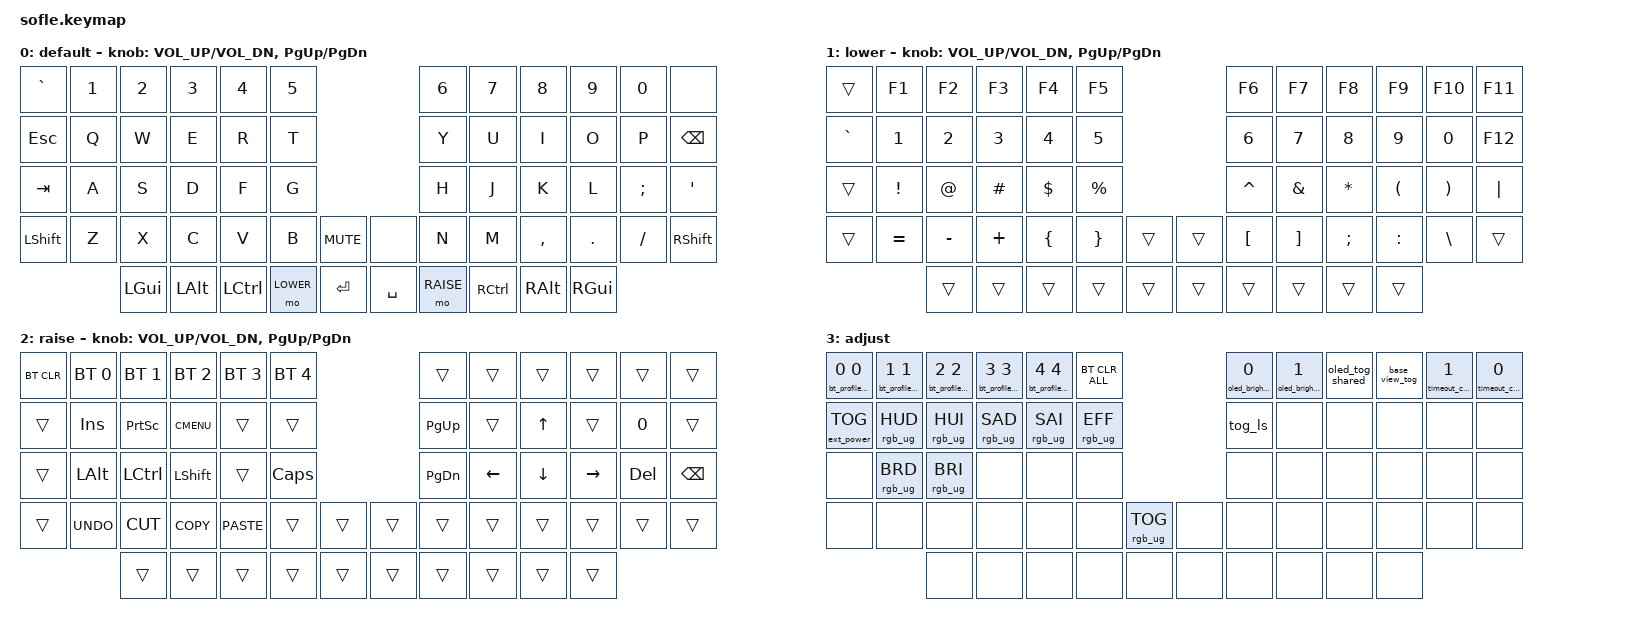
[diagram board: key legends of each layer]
/*
 * Copyright (c) 2020 The ZMK Contributors
 *
 * SPDX-License-Identifier: MIT
 */

#include <behaviors.dtsi>
#include <dt-bindings/zmk/keys.h>
#include <dt-bindings/zmk/bt.h>
#include <dt-bindings/zmk/outputs.h>
#include <dt-bindings/zmk/pointing.h>
#include "../common/studio_features.dtsi"
#include "../common/studio_runtime_layers.dtsi"
#include <dt-bindings/zmk/rgb.h>
#include <dt-bindings/zmk/ext_power.h>


#define BASE 0
#define LOWER 1
#define RAISE 2
#define ADJUST 3

/ {
    behaviors {
        base_view_tog: base_view_toggle {
            compatible = "zmk,behavior-base-view-toggle";
            #binding-cells = <0>;
            display-name = "BASE View Cycle";
        };

        oled_brightness: oled_brightness {
            compatible = "zmk,behavior-oled-brightness";
            #binding-cells = <1>;
            display-name = "OLED Brightness";
        };
    };
};

/ {
    combos {
        compatible = "zmk,combos";
        combo_studio_unlock {
            timeout-ms = <50>;
            key-positions = <0 1>;
            bindings = <&studio_unlock>;
        };
    };
};

/ {

   // Activate ADJUST layer by pressing raise and lower
    conditional_layers {
        compatible = "zmk,conditional-layers";
        adjust_layer {
            if-layers = <LOWER RAISE>;
            then-layer = <ADJUST>;
        };
    };

    keymap {
        compatible = "zmk,keymap";

        default_layer {
            display-name = "default";
            bindings = <
&kp GRAVE &kp N1 &kp N2   &kp N3   &kp N4    &kp N5                           &kp N6 &kp N7    &kp N8    &kp N9   &kp N0   &none
&kp ESC   &kp Q  &kp W    &kp E    &kp R     &kp T                            &kp Y  &kp U     &kp I     &kp O    &kp P    &kp BSPC
&kp TAB   &kp A  &kp S    &kp D    &kp F     &kp G                            &kp H  &kp J     &kp K     &kp L    &kp SEMI &kp SQT
&kp LSHFT &kp Z  &kp X    &kp C    &kp V     &kp B      &kp C_MUTE &none      &kp N  &kp M     &kp COMMA &kp DOT  &kp FSLH &kp RSHFT
                 &kp LGUI &kp LALT &kp LCTRL &mo LOWER  &kp RET    &kp SPACE  &mo RAISE  &kp RCTRL &kp RALT  &kp RGUI
            >;
            sensor-bindings = <&inc_dec_kp C_VOL_UP C_VOL_DN &inc_dec_kp PG_UP PG_DN>;
        };

        lower_layer {
            display-name = "lower";
            bindings = <
&trans    &kp F1    &kp F2    &kp F3      &kp F4    &kp F5                    &kp F6    &kp F7   &kp F8    &kp F9    &kp F10   &kp F11
&kp GRAVE &kp N1    &kp N2    &kp N3      &kp N4    &kp N5                    &kp N6    &kp N7   &kp N8    &kp N9    &kp N0    &kp F12
&trans    &kp EXCL  &kp AT    &kp HASH    &kp DLLR  &kp PRCNT                 &kp CARET &kp AMPS &kp ASTRK &kp LPAR  &kp RPAR  &kp PIPE
&trans    &kp EQUAL &kp MINUS &kp PLUS &kp LBRC  &kp RBRC   &trans &trans  &kp LBKT  &kp RBKT &kp SEMI  &kp COLON &kp BSLH  &trans
                    &trans    &trans      &trans    &trans     &trans &trans  &trans    &trans   &trans    &trans
            >;
            sensor-bindings = <&inc_dec_kp C_VOL_UP C_VOL_DN &inc_dec_kp PG_UP PG_DN>;
        };

        raise_layer {
            display-name = "raise";
            bindings = <
&bt BT_CLR &bt BT_SEL 0 &bt BT_SEL 1 &bt BT_SEL 2 &bt BT_SEL 3 &bt BT_SEL 4                  &trans    &trans    &trans   &trans    &trans  &trans
&trans     &kp INS      &kp PSCRN    &kp K_CMENU  &trans       &trans                        &kp PG_UP &trans    &kp UP   &trans    &kp N0  &trans
&trans     &kp LALT     &kp LCTRL    &kp LSHFT    &trans       &kp CLCK                      &kp PG_DN &kp LEFT  &kp DOWN &kp RIGHT &kp DEL &kp BSPC
&trans     &kp K_UNDO   &kp K_CUT    &kp K_COPY   &kp K_PASTE  &trans        &trans  &trans  &trans    &trans    &trans   &trans    &trans  &trans
                        &trans       &trans       &trans       &trans        &trans  &trans  &trans    &trans    &trans   &trans
            >;
            sensor-bindings = <&inc_dec_kp C_VOL_UP C_VOL_DN &inc_dec_kp PG_UP PG_DN>;
        };

        adjust_layer {
            display-name = "adjust";
            bindings = <
&bt_profile_shared 0 0 &bt_profile_shared 1 1 &bt_profile_shared 2 2 &bt_profile_shared 3 3 &bt_profile_shared 4 4 &bt BT_CLR_ALL    &oled_brightness 0 &oled_brightness 1 &oled_tog_shared &base_view_tog &timeout_cycle_shared 1 &timeout_cycle_shared 0
&ext_power EP_TOG &rgb_ug RGB_HUD &rgb_ug RGB_HUI &rgb_ug RGB_SAD &rgb_ug RGB_SAI &rgb_ug RGB_EFF                         &tog_ls &none &none &none &none &none
&none             &rgb_ug RGB_BRD &rgb_ug RGB_BRI &none           &none           &none                                   &none &none &none &none &none &none
&none             &none           &none           &none           &none           &none            &rgb_ug RGB_TOG &none  &none &none &none &none &none &none
                                  &none           &none           &none           &none            &none           &none  &none &none &none &none
            >;
        };

        ZMK_STUDIO_RUNTIME_LAYER_SLOTS_4
    };
};
